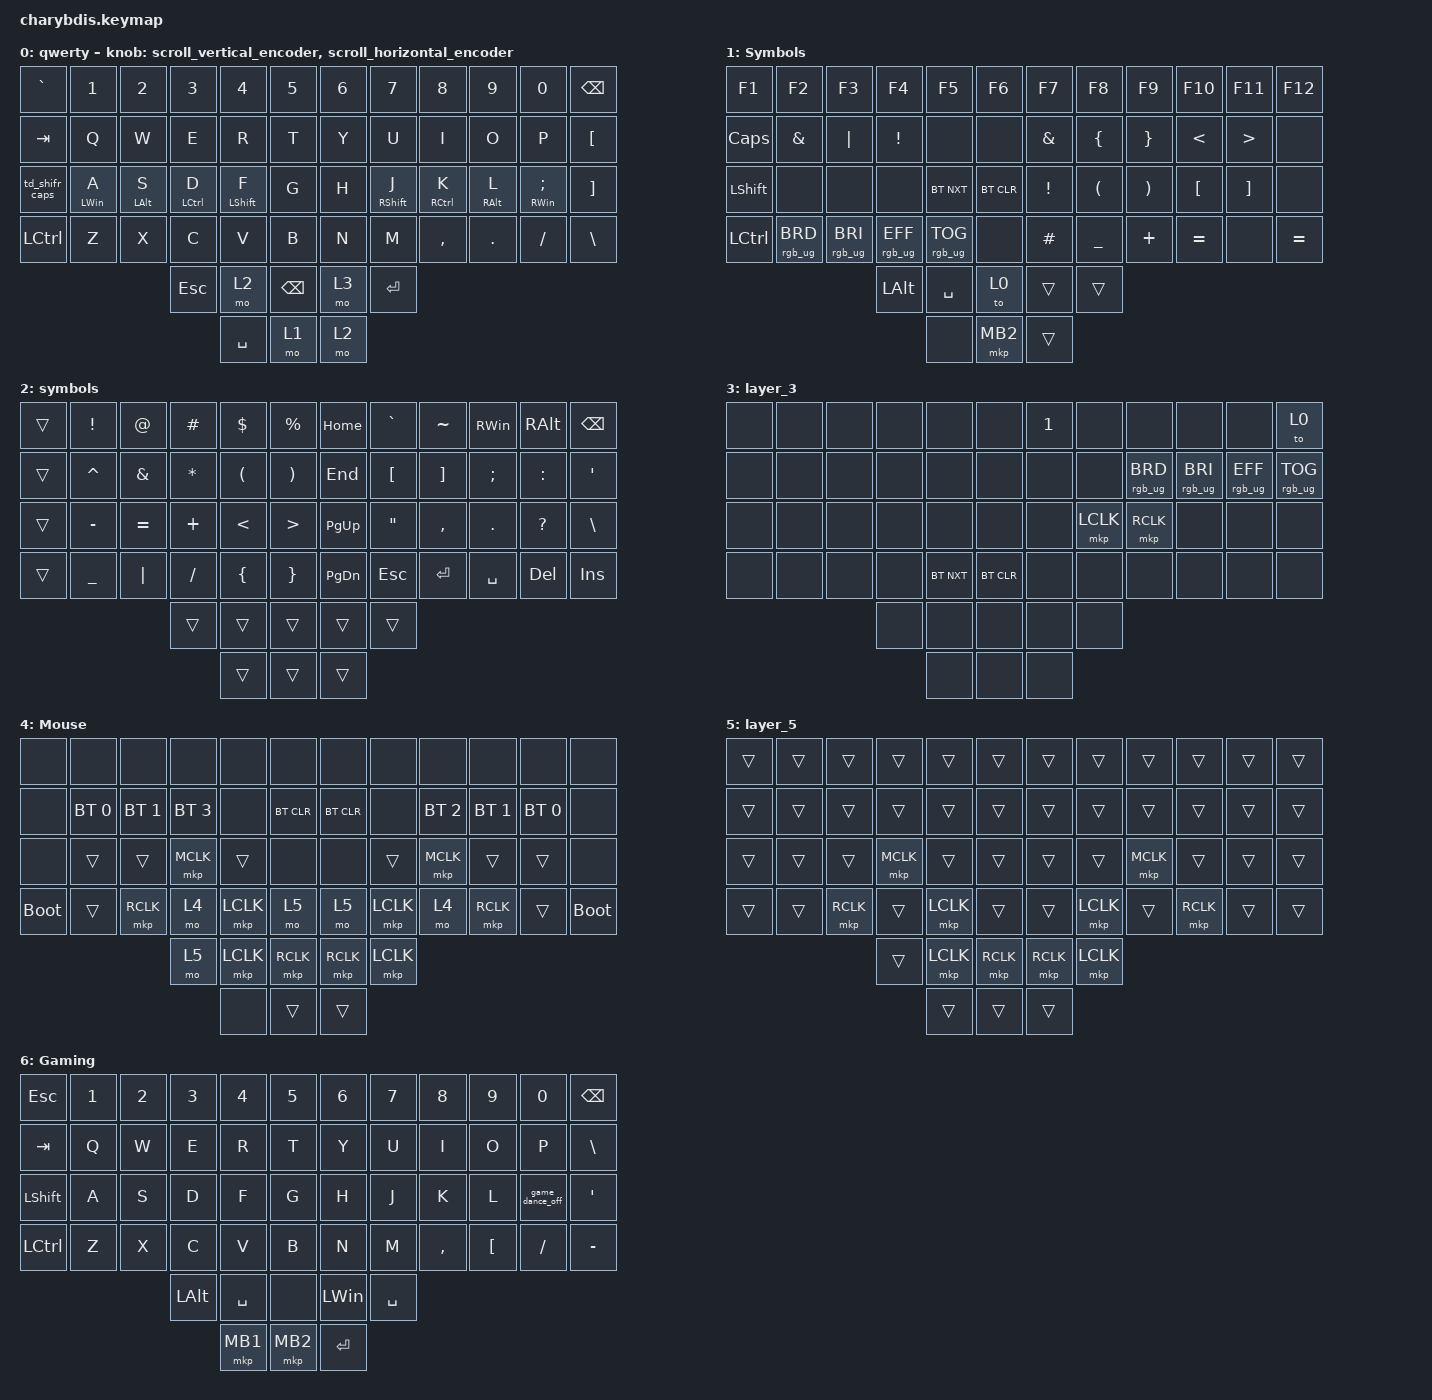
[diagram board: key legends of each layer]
#include <dt-bindings/zmk/mouse.h>
#include <input/processors.dtsi>
#include <zephyr/dt-bindings/input/input-event-codes.h>
#include <dt-bindings/zmk/automouse.h>
#include <behaviors.dtsi>
#include <dt-bindings/zmk/bt.h>
#include <dt-bindings/zmk/keys.h>
#include <dt-bindings/zmk/pointing.h>
#include <dt-bindings/zmk/rgb.h>

#define ZMK_POINTING_DEFAULT_MOVE_VAL 1000
#define ZMK_POINTING_DEFAULT_SCRL_VAL 12

&lt {
    tapping-term-ms = <180>; // Немного уменьшили для более отзывчивого пробела-слоя
    flavor = "balanced";
    quick-tap-ms = <150>;
};

&mmv_input_listener { input-processors = <&zip_xy_scaler 2 1>; };

&msc_input_listener { input-processors = <&zip_scroll_scaler 2 1>; };

&msc {
    acceleration-exponent = <0>;
    time-to-max-speed-ms = <100>;
    delay-ms = <0>;
};

&mmv {
    time-to-max-speed-ms = <500>;
    acceleration-exponent = <1>;
    trigger-period-ms = <16>;
};

&hid_trackball_interface {
    automouse-layer = <1>;
    automouse-layer-timeout-ms = <600>;
    scroll-layers = <5>; // Скролл шаром теперь на слое 5 (бывший layer_5)            
    snipe-layers = <3>;
};

/ {
    scroll_vertical_encoder: scroll_vertical_encoder {
        compatible = "zmk,behavior-sensor-rotate";
        #sensor-binding-cells = <0>;
        bindings = <&msc SCRL_DOWN>, <&msc SCRL_UP>;

        tap-ms = <100>;
    };

    scroll_horizontal_encoder: scroll_horizontal_encoder {
        compatible = "zmk,behavior-sensor-rotate";
        #sensor-binding-cells = <0>;
        bindings = <&msc SCRL_LEFT>, <&msc SCRL_RIGHT>;

        tap-ms = <100>;
    };

    behaviors {
        ts_snipe: trackball_snipe {
            compatible = "zmk,behavior-pointing-snipe";
            #binding-cells = <0>;
            velocity-multiplier = <4 1>;
        };

        ts_scroll: trackball_scroll {
            compatible = "zmk,behavior-pointing-scroll";
            #binding-cells = <0>;
            trigger-toggle;
        };

        game_dance_on: game_dance_on {
            compatible = "zmk,behavior-tap-dance";
            #binding-cells = <0>;
            tapping-term-ms = <250>;
            bindings = <&kp SEMI>, <&tog_game_on>;
        };

        game_dance_off: game_dance_off {
            compatible = "zmk,behavior-tap-dance";
            #binding-cells = <0>;
            tapping-term-ms = <250>;
            bindings = <&kp SEMI>, <&tog_game_off>;
        };

        caps_dance: caps_dance {
            compatible = "zmk,behavior-tap-dance";
            label = "CAPS_DANCE";
            #binding-cells = <0>;
            bindings = <&kp LEFT_SHIFT>, <&kp CAPSLOCK>;
        };

        td_shifr_caps: td_shifr_caps {
            compatible = "zmk,behavior-tap-dance";
            label = "TD_SHIFR_CAPS";
            #binding-cells = <0>;
            bindings = <&mt LEFT_SHIFT LEFT_SHIFT>, <&kp CAPSLOCK>;

            tapping-term-ms = <200>;
        };
    };

    macros {
        tog_game_on: tog_game_on {
            compatible = "zmk,behavior-macro";
            label = "tog_game_on";
            #binding-cells = <0>;
            bindings = <&amc AM_OFF &rgb_ug RGB_COLOR_HSB(0,100,50) &to 6>;
        };

        tog_game_off: tog_game_off {
            compatible = "zmk,behavior-macro";
            label = "tog_game_off";
            #binding-cells = <0>;
            bindings = <&amc AM_ON &rgb_ug RGB_EFR &to 0>;
        };

        To1_macro: To1_macro {
            compatible = "zmk,behavior-macro";
            label = "To1_macro";
            #binding-cells = <0>;
            bindings = <&rgb_ug RGB_EFF &rgb_ug RGB_COLOR_HSB(128,100,50) &to 1>;
        };

        To1_macro_A: To1_macro_A {
            compatible = "zmk,behavior-macro";
            label = "To1_macro_A";
            #binding-cells = <0>;
            bindings = <&rgb_ug RGB_COLOR_HSB(128,100,50) &to 1>;
        };

        To0_macro: To0_macro {
            compatible = "zmk,behavior-macro";
            label = "To0_macro";
            #binding-cells = <0>;
            bindings = <&rgb_ug RGB_EFR &to 0>;
        };

        To2_macro_A: To2_macro_A {
            compatible = "zmk,behavior-macro";
            label = "To2_macro_A";
            #binding-cells = <0>;
            bindings = <&rgb_ug RGB_COLOR_HSB(250,100,50) &to 2>;
        };

        To2_macro: To2_macro {
            compatible = "zmk,behavior-macro";
            label = "To2_macro";
            #binding-cells = <0>;
            bindings = <&rgb_ug RGB_EFF &rgb_ug RGB_COLOR_HSB(250,100,50) &to 2>;
        };
    };

    keymap {
        compatible = "zmk,keymap";

        qwerty {
            bindings = <
&kp GRAVE         &kp N1          &kp N2          &kp N3              &kp N4            &kp N5           &kp N6  &kp N7             &kp N8               &kp N9           &kp N0                   &kp BACKSPACE
&kp TAB           &kp Q           &kp W           &kp E               &kp R             &kp T            &kp Y   &kp U              &kp I                &kp O            &kp P                    &kp LEFT_BRACKET
&td_shifr_caps    &mt LEFT_WIN A  &mt LEFT_ALT S  &mt LEFT_CONTROL D  &mt LEFT_SHIFT F  &kp G            &kp H   &mt RIGHT_SHIFT J  &mt RIGHT_CONTROL K  &mt RIGHT_ALT L  &mt RIGHT_WIN SEMICOLON  &kp RIGHT_BRACKET
&kp LEFT_CONTROL  &kp Z           &kp X           &kp C               &kp V             &kp B            &kp N   &kp M              &kp COMMA            &kp DOT          &kp FSLH                 &kp BACKSLASH
                                                  &kp ESCAPE          &mo 2             &kp BACKSPACE    &mo 3   &kp ENTER
                                                                      &kp SPACE         &mo 1            &mo 2
            >;

            sensor-bindings =
                <&scroll_vertical_encoder>,
                <&scroll_horizontal_encoder>;
        };

        Symbols {
            bindings = <
&kp F1          &kp F2           &kp F3           &kp F4           &kp F5           &kp F6        &kp F7           &kp F8                &kp F9                 &kp F10           &kp F11            &kp F12
&kp CAPS        &kp AMPERSAND    &kp PIPE         &kp EXCLAMATION  &none            &none         &kp AMPERSAND    &kp LEFT_BRACE        &kp RIGHT_BRACE        &kp LESS_THAN     &kp GREATER_THAN   &none
&kp LEFT_SHIFT  &none            &none            &none            &bt BT_NXT       &bt BT_CLR    &kp EXCLAMATION  &kp LEFT_PARENTHESIS  &kp RIGHT_PARENTHESIS  &kp LEFT_BRACKET  &kp RIGHT_BRACKET  &none
&kp LCTRL       &rgb_ug RGB_BRD  &rgb_ug RGB_BRI  &rgb_ug RGB_EFF  &rgb_ug RGB_TOG  &none         &kp HASH         &kp UNDERSCORE        &kp PLUS               &kp EQUAL         &none              &kp EQUAL
                                                  &kp LEFT_ALT     &kp SPACE        &to 0         &trans           &trans
                                                                   &none            &mkp MB2      &trans
            >;
        };

        symbols {
            bindings = <
&trans  &kp EXCLAMATION  &kp AT_SIGN    &kp HASH      &kp DOLLAR            &kp PERCENT              &kp HOME       &kp GRAVE          &kp TILDE          &kp RIGHT_WIN  &kp RIGHT_ALT  &kp BACKSPACE
&trans  &kp CARET        &kp AMPERSAND  &kp ASTERISK  &kp LEFT_PARENTHESIS  &kp RIGHT_PARENTHESIS    &kp END        &kp LEFT_BRACKET   &kp RIGHT_BRACKET  &kp SEMICOLON  &kp COLON      &kp SQT
&trans  &kp MINUS        &kp EQUAL      &kp PLUS      &kp LESS_THAN         &kp GREATER_THAN         &kp PAGE_UP    &kp DOUBLE_QUOTES  &kp COMMA          &kp PERIOD     &kp QMARK      &kp BACKSLASH
&trans  &kp UNDERSCORE   &kp PIPE       &kp SLASH     &kp LEFT_BRACE        &kp RIGHT_BRACE          &kp PAGE_DOWN  &kp ESCAPE         &kp ENTER          &kp SPACE      &kp DELETE     &kp INSERT
                                        &trans        &trans                &trans                   &trans         &trans
                                                      &trans                &trans                   &trans
            >;
        };

        layer_3 {
            bindings = <
&none  &none  &none  &none  &none       &none         &kp N1  &none      &none            &none            &none            &to 0
&none  &none  &none  &none  &none       &none         &none   &none      &rgb_ug RGB_BRD  &rgb_ug RGB_BRI  &rgb_ug RGB_EFF  &rgb_ug RGB_TOG
&none  &none  &none  &none  &none       &none         &none   &mkp LCLK  &mkp RCLK        &none            &none            &none
&none  &none  &none  &none  &bt BT_NXT  &bt BT_CLR    &none   &none      &none            &none            &none            &none
                     &none  &none       &none         &none   &none
                            &none       &none         &none
            >;
        };

        Mouse {
            bindings = <
&none        &none         &none         &none         &none      &none         &none       &none      &none         &none         &none         &none
&none        &bt BT_SEL 0  &bt BT_SEL 1  &bt BT_SEL 3  &none      &bt BT_CLR    &bt BT_CLR  &none      &bt BT_SEL 2  &bt BT_SEL 1  &bt BT_SEL 0  &none
&none        &trans        &trans        &mkp MCLK     &trans     &none         &none       &trans     &mkp MCLK     &trans        &trans        &none
&bootloader  &trans        &mkp RCLK     &mo 4         &mkp LCLK  &mo 5         &mo 5       &mkp LCLK  &mo 4         &mkp RCLK     &trans        &bootloader
                                         &mo 5         &mkp LCLK  &mkp RCLK     &mkp RCLK   &mkp LCLK
                                                       &none      &trans        &trans
            >;
        };

        layer_5 {
            bindings = <
&trans  &trans  &trans     &trans     &trans     &trans       &trans     &trans     &trans     &trans     &trans  &trans
&trans  &trans  &trans     &trans     &trans     &trans       &trans     &trans     &trans     &trans     &trans  &trans
&trans  &trans  &trans     &mkp MCLK  &trans     &trans       &trans     &trans     &mkp MCLK  &trans     &trans  &trans
&trans  &trans  &mkp RCLK  &trans     &mkp LCLK  &trans       &trans     &mkp LCLK  &trans     &mkp RCLK  &trans  &trans
                           &trans     &mkp LCLK  &mkp RCLK    &mkp RCLK  &mkp LCLK
                                      &trans     &trans       &trans
            >;
        };

        Gaming {
            bindings = <
&kp ESC         &kp N1  &kp N2  &kp N3        &kp N4     &kp N5      &kp N6     &kp N7     &kp N8     &kp N9            &kp N0           &kp BACKSPACE
&kp TAB         &kp Q   &kp W   &kp E         &kp R      &kp T       &kp Y      &kp U      &kp I      &kp O             &kp P            &kp BSLH
&kp LEFT_SHIFT  &kp A   &kp S   &kp D         &kp F      &kp G       &kp H      &kp J      &kp K      &kp L             &game_dance_off  &kp SQT
&kp LCTRL       &kp Z   &kp X   &kp C         &kp V      &kp B       &kp N      &kp M      &kp COMMA  &kp LEFT_BRACKET  &kp FSLH         &kp MINUS
                                &kp LEFT_ALT  &kp SPACE  &none       &kp LWIN   &kp SPACE
                                              &mkp MB1   &mkp MB2    &kp ENTER
            >;
        };
    };
};
